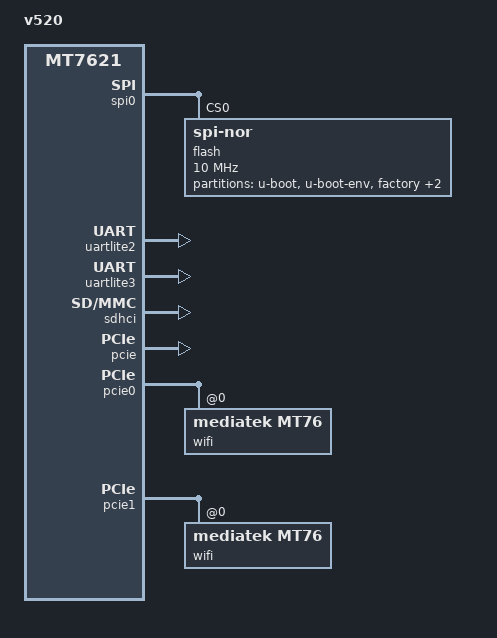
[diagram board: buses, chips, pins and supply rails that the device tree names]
#include "mt7621.dtsi"

#include <dt-bindings/gpio/gpio.h>
#include <dt-bindings/input/input.h>

/ {
	compatible = "ashyelf,v520", "mediatek,mt7621-soc";
	model = "v520";

	chosen {
		bootargs = "console=ttyS0,57600";
	};
};

&spi0 {
	status = "okay";

	flash@0 {
		compatible = "jedec,spi-nor";
		reg = <0>;
		spi-max-frequency = <10000000>;

		partitions: partitions {
			compatible = "fixed-partitions";
			#address-cells = <1>;
			#size-cells = <1>;

			partition@0 {
				label = "u-boot";
				reg = <0x0 0x30000>;
				read-only;
			};

			partition@30000 {
				label = "u-boot-env";
				reg = <0x30000 0x10000>;
				read-only;
			};

			factory: partition@40000 {
				label = "factory";
				reg = <0x40000 0x10000>;
			};

			partition@50000 {
				compatible = "denx,uimage";
				label = "firmware";
				reg = <0x50000 0x6b0000 0x50000 0xeb0000 0x50000 0x1eb0000 0x50000 0x3eb0000>;
			};

			partition@700000 {
				label = "Fconfig";
				reg = <0x700000 0x100000 0xf00000 0x100000 0x1f00000 0x100000 0x3f00000 0x100000>;
			};

		};
	};
};



&uartlite2 {
	status = "okay";
};

&uartlite3 {
	status = "okay";
};



&sdhci {
	status = "okay";
};


&state_default {
	gpio {
		group = "wdt", "rgmii2", "jtag";
		ralink,function = "gpio";
	};
};

&ethernet {
	pinctrl-names = "default";
	pinctrl-0 = <&rgmii1_pins &mdio_pins>;
};

&pcie {
	status = "okay";
};

&pcie0 {
	wifi@0,0 {
		compatible = "mediatek,mt76";
		reg = <0x0000 0 0 0 0>;
		mediatek,mtd-eeprom = <&factory 0x0000>;
		ieee80211-freq-limit = <2400000 2500000>;
	};
};
&pcie1 {
	wifi@0,0 {
		compatible = "mediatek,mt76";
		reg = <0x0000 0 0 0 0>;
		mediatek,mtd-eeprom = <&factory 0x8000>;
		ieee80211-freq-limit = <5000000 6000000>;
	};
};

&gmac0 {
	nvmem-cells = <&macaddr_factory_e000>;
	nvmem-cell-names = "mac-address";
};

&switch0 {
	ports {
		port@0 {
			status = "okay";
			label = "lan1";
		};

		port@1 {
			status = "okay";
			label = "lan2";
		};

		port@2 {
			status = "okay";
			label = "lan3";
		};

		port@3 {
			status = "okay";
			label = "lan4";
		};

		port@4 {
			status = "okay";
			label = "wan";
			nvmem-cells = <&macaddr_factory_e000>;
			nvmem-cell-names = "mac-address";
			mac-address-increment = <1>;
		};
	};
};

&factory {
	compatible = "nvmem-cells";
	#address-cells = <1>;
	#size-cells = <1>;

	macaddr_factory_e000: macaddr@e000 {
		reg = <0xe000 0x6>;
	};
};
